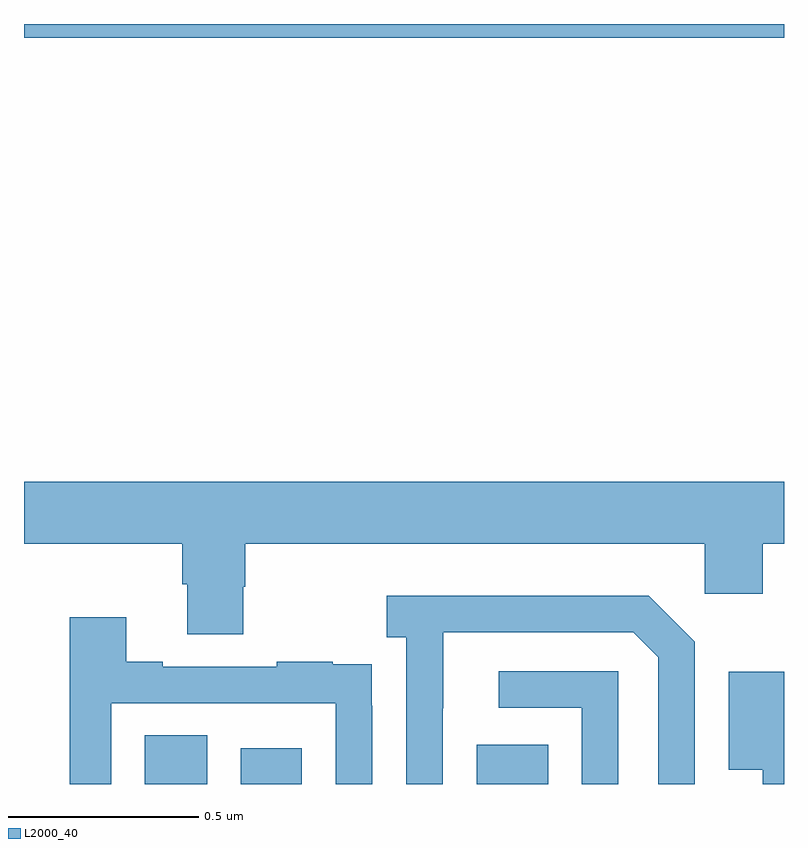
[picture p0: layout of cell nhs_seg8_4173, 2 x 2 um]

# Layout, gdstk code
import gdstk
lib = gdstk.Library(unit=1e-6, precision=1e-09)
def R(c, l, rs):  # rectangles x0, y0, x1, y1
    for r in rs: c.add(gdstk.rectangle(r[:2], r[2:], *l))
def P(c, l, *ps):  # polygons
    for p in ps: c.add(gdstk.Polygon(p, *l))
L2000_40 = (2000, 40)

nhs_seg8_4173 = lib.new_cell('nhs_seg8_4173')
R(nhs_seg8_4173, L2000_40, [(167.318,1083.9,167.482,1084.028), (167.57,1083.9,167.731,1083.994), (168.191,1083.9,168.379,1084.003), (167,1085.864,169,1085.9)])
P(nhs_seg8_4173, L2000_40, [(167.577,1084.419),(167.582,1084.419),(167.582,1084.532),(168.792,1084.532),(168.792,1084.401),(168.944,1084.401),(168.944,1084.532),(169,1084.532),(169,1084.696),(167,1084.696),(167,1084.532),(167.417,1084.532),(167.417,1084.426),(167.429,1084.426),(167.429,1084.294),(167.577,1084.294)],
  [(168.102,1084.099),(168.103,1084.099),(168.103,1084.299),(168.603,1084.299),(168.669,1084.233),(168.669,1083.9),(168.765,1083.9),(168.765,1084.275),(168.644,1084.396),(167.955,1084.396),(167.955,1084.286),(168.006,1084.286),(168.006,1083.9),(168.102,1083.9)],
  [(167.229,1084.113),(167.82,1084.113),(167.82,1083.9),(167.916,1083.9),(167.916,1084.106),(167.915,1084.106),(167.915,1084.215),(167.813,1084.215),(167.813,1084.222),(167.665,1084.222),(167.665,1084.209),(167.365,1084.209),(167.365,1084.222),(167.269,1084.222),(167.269,1084.339),(167.121,1084.339),(167.121,1083.9),(167.229,1083.9)],
  [(168.564,1084.197),(168.249,1084.197),(168.249,1084.101),(168.468,1084.101),(168.468,1083.9),(168.564,1083.9)],
  [(169,1084.195),(168.854,1084.195),(168.854,1083.938),(168.944,1083.938),(168.944,1083.9),(169,1083.9)])

lib.write_gds('nhs_seg8_4173.gds')
